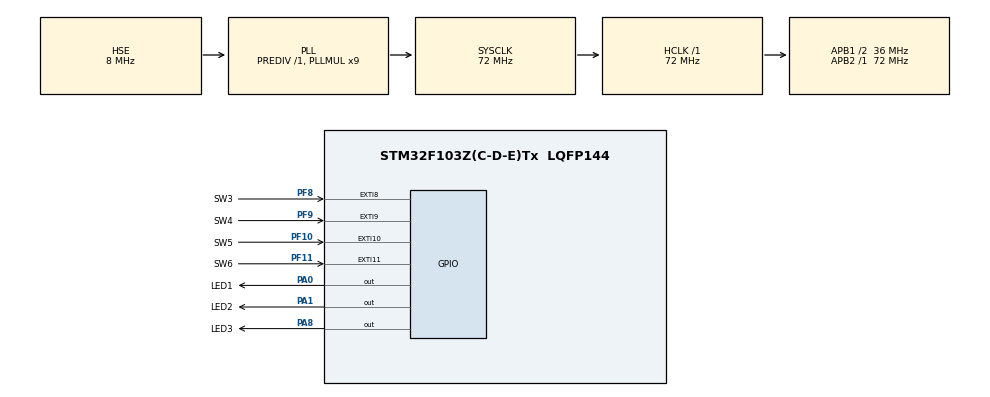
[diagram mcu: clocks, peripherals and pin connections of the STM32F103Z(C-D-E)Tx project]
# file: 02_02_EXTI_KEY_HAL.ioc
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Mcu.Family=STM32F1
Mcu.Name=STM32F103Z(C-D-E)Tx
Mcu.Package=LQFP144
NVIC.EXTI15_10_IRQn=true\:2\:0\:true\:false\:true\:true\:true\:true
NVIC.EXTI9_5_IRQn=true\:2\:0\:true\:false\:true\:true\:true\:true
NVIC.PriorityGroup=NVIC_PRIORITYGROUP_4
OSC_IN.Mode=HSE-External-Oscillator
OSC_IN.Signal=RCC_OSC_IN
OSC_OUT.Mode=HSE-External-Oscillator
OSC_OUT.Signal=RCC_OSC_OUT
PA0-WKUP.GPIO_Label=LED1
PA0-WKUP.GPIO_Speed=GPIO_SPEED_FREQ_HIGH
PA0-WKUP.PinState=GPIO_PIN_SET
PA0-WKUP.Signal=GPIO_Output
PA1.GPIO_Label=LED2
PA1.GPIO_Speed=GPIO_SPEED_FREQ_HIGH
PA1.PinState=GPIO_PIN_SET
PA1.Signal=GPIO_Output
PA13.Mode=Serial_Wire
PA13.Signal=SYS_JTMS-SWDIO
PA14.Mode=Serial_Wire
PA14.Signal=SYS_JTCK-SWCLK
PA8.GPIO_Label=LED3
PA8.GPIO_Speed=GPIO_SPEED_FREQ_HIGH
PA8.PinState=GPIO_PIN_SET
PA8.Signal=GPIO_Output
PC14-OSC32_IN.Mode=LSE-External-Oscillator
PC14-OSC32_IN.Signal=RCC_OSC32_IN
PC15-OSC32_OUT.Mode=LSE-External-Oscillator
PC15-OSC32_OUT.Signal=RCC_OSC32_OUT
PF10.GPIO_Label=SW5
PF10.GPIO_PuPd=GPIO_PULLDOWN
PF10.Signal=GPXTI10
PF11.GPIO_Label=SW6
PF11.GPIO_PuPd=GPIO_PULLDOWN
PF11.Signal=GPXTI11
PF8.GPIO_Label=SW3
PF8.GPIO_ModeDefaultEXTI=GPIO_MODE_IT_FALLING
PF8.GPIO_PuPd=GPIO_PULLUP
PF8.Signal=GPXTI8
PF9.GPIO_Label=SW4
PF9.GPIO_ModeDefaultEXTI=GPIO_MODE_IT_FALLING
PF9.GPIO_PuPd=GPIO_PULLUP
PF9.Signal=GPXTI9
ProjectManager.HeapSize=0x200
ProjectManager.StackSize=0x400
ProjectManager.TargetToolchain=MDK-ARM V5.32
RCC.AHBFreq_Value=72000000
RCC.APB1CLKDivider=RCC_HCLK_DIV2
RCC.APB1Freq_Value=36000000
RCC.APB1TimFreq_Value=72000000
RCC.APB2Freq_Value=72000000
RCC.APB2TimFreq_Value=72000000
RCC.HCLKFreq_Value=72000000
RCC.PLLMUL=RCC_PLL_MUL9
RCC.PLLSourceVirtual=RCC_PLLSOURCE_HSE
RCC.SYSCLKFreq_VALUE=72000000
RCC.SYSCLKSource=RCC_SYSCLKSOURCE_PLLCLK
RCC.USBFreq_Value=72000000
board=custom

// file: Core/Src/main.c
/* USER CODE BEGIN Header */
/**
  ******************************************************************************
  * @file           : main.c
  * @brief          : Main program body
  ******************************************************************************
  * @attention
  *
  * Copyright (c) 2025 STMicroelectronics.
  * All rights reserved.
  *
  * This software is licensed under terms that can be found in the LICENSE file
  * in the root directory of this software component.
  * If no LICENSE file comes with this software, it is provided AS-IS.
  *
  ******************************************************************************
  */
/* USER CODE END Header */
#include "main.h"
#include "gpio.h"

void SystemClock_Config(void);

/* USER CODE BEGIN 0 */

// 重定义 EXTI 中断弱函数
void HAL_GPIO_EXTI_Callback(uint16_t GPIO_Pin)
{
  // 判断是否是 EXTI8(SW3) 产生的中断
  if (GPIO_Pin == SW3_Pin)
  {
    // 消抖
    HAL_Delay(10);
    if (HAL_GPIO_ReadPin(SW3_GPIO_Port,SW3_Pin) == 0)
    {
      HAL_GPIO_TogglePin(LED1_GPIO_Port,LED1_Pin);
    }
  }

  // 判断是否是 EXTI9(SW4) 产生的中断
  if (GPIO_Pin == SW4_Pin)
  {
    // 消抖
    HAL_Delay(10);
    if (HAL_GPIO_ReadPin(SW4_GPIO_Port,SW4_Pin) == 0)
    {
      HAL_GPIO_TogglePin(LED1_GPIO_Port,LED1_Pin);
    }
  }

    // 判断是否是 EXTI10(SW5) 产生的中断
  if (GPIO_Pin == SW5_Pin)
  {
    // 消抖
    HAL_Delay(10);
    if (HAL_GPIO_ReadPin(SW5_GPIO_Port,SW5_Pin) == 1)
    {
      HAL_GPIO_TogglePin(LED1_GPIO_Port,LED1_Pin);
    }
  }

    // 判断是否是 EXTI11(SW6) 产生的中断
  if (GPIO_Pin == SW6_Pin)
  {
    // 消抖
    HAL_Delay(10);
    if (HAL_GPIO_ReadPin(SW6_GPIO_Port,SW6_Pin) == 1)
    {
      HAL_GPIO_TogglePin(LED1_GPIO_Port,LED1_Pin);
    }
  }

}

/* USER CODE END 0 */

int main(void)
{

  /* MCU Configuration--------------------------------------------------------*/

  /* Reset of all peripherals, Initializes the Flash interface and the Systick. */
  HAL_Init();

  /* Configure the system clock */
  SystemClock_Config();

  /* Initialize all configured peripherals */
  MX_GPIO_Init();

  /* Infinite loop */
  while (1)
  {

  }
}

void SystemClock_Config(void)
{
  RCC_OscInitTypeDef RCC_OscInitStruct = {0};
  RCC_ClkInitTypeDef RCC_ClkInitStruct = {0};

  /** Initializes the RCC Oscillators according to the specified parameters
  * in the RCC_OscInitTypeDef structure.
  */
  RCC_OscInitStruct.OscillatorType = RCC_OSCILLATORTYPE_HSE;
  RCC_OscInitStruct.HSEState = RCC_HSE_ON;
  RCC_OscInitStruct.HSEPredivValue = RCC_HSE_PREDIV_DIV1;
  RCC_OscInitStruct.HSIState = RCC_HSI_ON;
  RCC_OscInitStruct.PLL.PLLState = RCC_PLL_ON;
  RCC_OscInitStruct.PLL.PLLSource = RCC_PLLSOURCE_HSE;
  RCC_OscInitStruct.PLL.PLLMUL = RCC_PLL_MUL9;
  if (HAL_RCC_OscConfig(&RCC_OscInitStruct) != HAL_OK)
  {
    Error_Handler();
  }

  /** Initializes the CPU, AHB and APB buses clocks
  */
  RCC_ClkInitStruct.ClockType = RCC_CLOCKTYPE_HCLK|RCC_CLOCKTYPE_SYSCLK
                              |RCC_CLOCKTYPE_PCLK1|RCC_CLOCKTYPE_PCLK2;
  RCC_ClkInitStruct.SYSCLKSource = RCC_SYSCLKSOURCE_PLLCLK;
  RCC_ClkInitStruct.AHBCLKDivider = RCC_SYSCLK_DIV1;
  RCC_ClkInitStruct.APB1CLKDivider = RCC_HCLK_DIV2;
  RCC_ClkInitStruct.APB2CLKDivider = RCC_HCLK_DIV1;

  if (HAL_RCC_ClockConfig(&RCC_ClkInitStruct, FLASH_LATENCY_2) != HAL_OK)
  {
    Error_Handler();
  }
}

void Error_Handler(void)
{
  __disable_irq();
  while (1)
  {
  }
}
